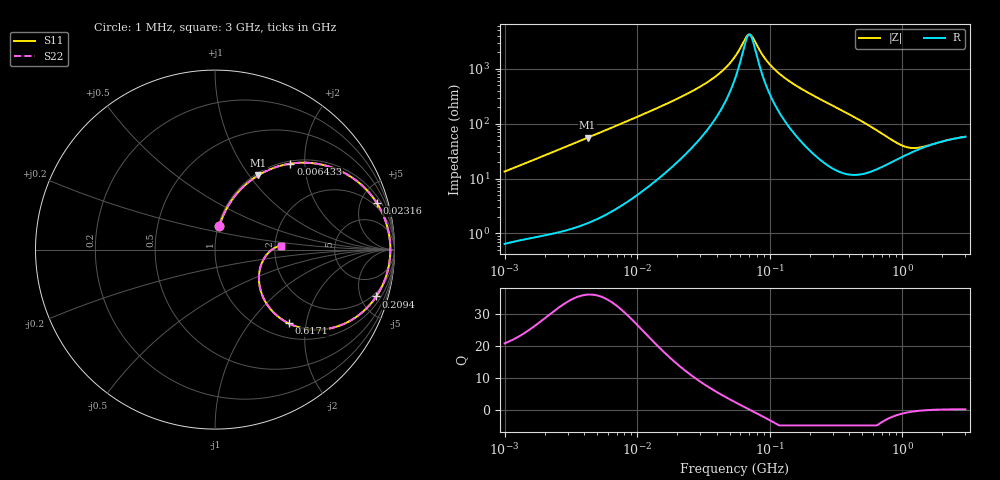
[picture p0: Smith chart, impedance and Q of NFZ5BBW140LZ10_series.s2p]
! NFZ5BBW140LZ10
# Hz S RI R 50
!Freq.(Hz) S11(Real) S11(Imag) S21(Real) S21(Imag) S12(Real) S12(Imag) S22(Real) S22(Imag)
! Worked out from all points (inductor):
!   401 points, 1 MHz to 3 GHz, reference 50 ohm
!   read as one part in series: L = 2.12 uH near 1.041 MHz
!   highest Q = 36.2 at 4.226 MHz (marker M1), where L = 2.09 uH
!   self-resonance near 70.29 MHz
!   S11 on the Smith chart (normalised r, x): 1 MHz: 1.01, +0.27; 6.433 MHz: 1.05, +1.69; 23.16 MHz: 1.55, +6.74; 209.4 MHz: 1.59, -6.67; 617.1 MHz: 1.28, -1.59; 3 GHz: 2.15, +0.11
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1000000  0.0237 0.1301  0.9763 -0.1301  0.9763 -0.1301  0.0237 0.1301
2139570  0.081 0.2565  0.919 -0.2565  0.919 -0.2565  0.081 0.2565
3823119  0.2078 0.392  0.7922 -0.392  0.7922 -0.392  0.2078 0.392
4225536  0.2415 0.4144  0.7585 -0.4144  0.7585 -0.4144  0.2415 0.4144
6433254  0.4204 0.4791  0.5796 -0.4791  0.5796 -0.4791  0.4204 0.4791
9410094  0.6064 0.4709  0.3936 -0.4709  0.3936 -0.4709  0.6064 0.4709
1.461624e7  0.7871 0.3847  0.2129 -0.3847  0.2129 -0.3847  0.7871 0.3847
2.316168e7  0.9017 0.2595  0.0983 -0.2595  0.0983 -0.2595  0.9017 0.2595
3.897472e7  0.9599 0.1277  0.0401 -0.1277  0.0401 -0.1277  0.9599 0.1277
5.477226e7  0.9742 0.0524  0.0258 -0.0524  0.0258 -0.0524  0.9742 0.0524
6.690963e7  0.9769 0.0103  0.0231 -0.0103  0.0231 -0.0103  0.9769 0.0103
7.105049e7  0.977 -0.00225  0.023 0.00225  0.023 0.00225  0.977 -0.00225
9.216659e7  0.9735 -0.0572  0.0265 0.0572  0.0265 0.0572  0.9735 -0.0572
1.103592e8  0.967 -0.0969  0.033 0.0969  0.033 0.0969  0.967 -0.0969
2.094008e8  0.8987 -0.2607  0.1013 0.2607  0.1013 0.2607  0.8987 -0.2607
4.135554e8  0.6538 -0.436  0.3462 0.436  0.3462 0.436  0.6538 -0.436
6.171487e8  0.41 -0.4109  0.59 0.4109  0.59 0.4109  0.41 -0.4109
8.005644e8  0.2882 -0.3029  0.7118 0.3029  0.7118 0.3029  0.2882 -0.3029
1.038491e9  0.245 -0.1714  0.755 0.1714  0.755 0.1714  0.245 -0.1714
1.243477e9  0.2533 -0.0967  0.7467 0.0967  0.7467 0.0967  0.2533 -0.0967
1.818868e9  0.3078 -0.00763  0.6922 0.00763  0.6922 0.00763  0.3078 -0.00763
3e9  0.3667 0.0213  0.6333 -0.0213  0.6333 -0.0213  0.3667 0.0213
